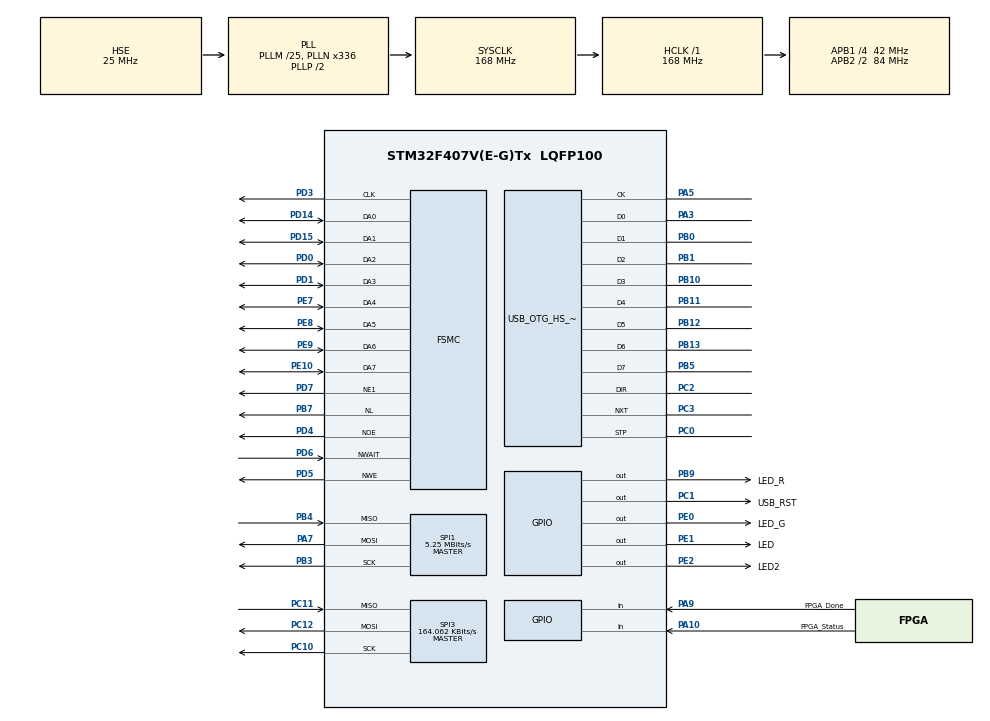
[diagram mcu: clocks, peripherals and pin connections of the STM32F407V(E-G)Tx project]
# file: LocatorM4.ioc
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FREERTOS.Tasks01=defaultTask,24,128,StartDefaultTask,Default,NULL,Dynamic,NULL,NULL
FREERTOS.configUSE_NEWLIB_REENTRANT=1
FSMC.WaitSignalPolarity1=FSMC_WAIT_SIGNAL_POLARITY_HIGH
FSMC.WriteOperation1=FSMC_WRITE_OPERATION_ENABLE
Mcu.Family=STM32F4
Mcu.Name=STM32F407V(E-G)Tx
Mcu.Package=LQFP100
NVIC.OTG_HS_EP1_IN_IRQn=true\:7\:0\:true\:false\:true\:true\:true\:true\:true
NVIC.OTG_HS_EP1_OUT_IRQn=true\:7\:0\:true\:false\:true\:true\:true\:true\:true
NVIC.OTG_HS_IRQn=true\:7\:0\:true\:false\:true\:true\:true\:true\:true
NVIC.PriorityGroup=NVIC_PRIORITYGROUP_4
NVIC.SPI1_IRQn=true\:5\:0\:true\:false\:true\:true\:true\:true\:true
NVIC.SPI3_IRQn=true\:5\:0\:false\:false\:true\:true\:true\:true\:true
NVIC.TIM2_IRQn=true\:15\:0\:true\:false\:true\:false\:true\:true\:true
NVIC.TIM3_IRQn=true\:5\:0\:false\:false\:true\:true\:true\:true\:true
NVIC.TIM4_IRQn=true\:5\:0\:false\:false\:true\:true\:true\:true\:true
NVIC.TimeBase=TIM2_IRQn
NVIC.TimeBaseIP=TIM2
PA10.GPIO_Label=FPGA_Status
PA10.GPIO_PuPd=GPIO_PULLDOWN
PA10.Signal=GPIO_Input
PA13.Mode=Serial_Wire
PA13.Signal=SYS_JTMS-SWDIO
PA14.Mode=Serial_Wire
PA14.Signal=SYS_JTCK-SWCLK
PA3.Mode=Device_HS
PA3.Signal=USB_OTG_HS_ULPI_D0
PA5.Mode=Device_HS
PA5.Signal=USB_OTG_HS_ULPI_CK
PA7.Mode=Full_Duplex_Master
PA7.Signal=SPI1_MOSI
PA9.GPIO_Label=FPGA_Done
PA9.GPIO_PuPd=GPIO_PULLDOWN
PA9.Signal=GPIO_Input
PB0.Mode=Device_HS
PB0.Signal=USB_OTG_HS_ULPI_D1
PB1.Mode=Device_HS
PB1.Signal=USB_OTG_HS_ULPI_D2
PB10.Mode=Device_HS
PB10.Signal=USB_OTG_HS_ULPI_D3
PB11.Mode=Device_HS
PB11.Signal=USB_OTG_HS_ULPI_D4
PB12.Mode=Device_HS
PB12.Signal=USB_OTG_HS_ULPI_D5
PB13.Mode=Device_HS
PB13.Signal=USB_OTG_HS_ULPI_D6
PB3.Mode=Full_Duplex_Master
PB3.Signal=SPI1_SCK
PB4.Mode=Full_Duplex_Master
PB4.Signal=SPI1_MISO
PB5.Mode=Device_HS
PB5.Signal=USB_OTG_HS_ULPI_D7
PB7.Signal=FSMC_NL
PB9.GPIO_Label=LED_R
PB9.Signal=GPIO_Output
PC0.Mode=Device_HS
PC0.Signal=USB_OTG_HS_ULPI_STP
PC1.GPIO_Label=USB_RST
PC1.Signal=GPIO_Output
PC10.Mode=Full_Duplex_Master
PC10.Signal=SPI3_SCK
PC11.Mode=Full_Duplex_Master
PC11.Signal=SPI3_MISO
PC12.Mode=Full_Duplex_Master
PC12.Signal=SPI3_MOSI
PC2.Mode=Device_HS
PC2.Signal=USB_OTG_HS_ULPI_DIR
PC3.Mode=Device_HS
PC3.Signal=USB_OTG_HS_ULPI_NXT
PD0.Mode=8b-da1
PD0.Signal=FSMC_DA2
PD1.Mode=8b-da1
PD1.Signal=FSMC_DA3
PD14.Mode=8b-da1
PD14.Signal=FSMC_DA0
PD15.Mode=8b-da1
PD15.Signal=FSMC_DA1
PD3.Mode=BurstRead1
PD3.Signal=FSMC_CLK
PD4.Mode=MuxedPsram1
PD4.Signal=FSMC_NOE
PD5.Mode=MuxedPsram1
PD5.Signal=FSMC_NWE
PD6.Mode=AsynchronousSynchronousWait1
PD6.Signal=FSMC_NWAIT
PD7.Mode=NorPsramChipSelect1_1
PD7.Signal=FSMC_NE1
PE0.GPIO_Label=LED_G
PE0.Signal=GPIO_Output
PE1.GPIO_Label=LED
PE1.Signal=GPIO_Output
PE10.Mode=8b-da1
PE10.Signal=FSMC_DA7
PE2.GPIO_Label=LED2
PE2.Signal=GPIO_Output
PE7.Mode=8b-da1
PE7.Signal=FSMC_DA4
PE8.Mode=8b-da1
PE8.Signal=FSMC_DA5
PE9.Mode=8b-da1
PE9.Signal=FSMC_DA6
PH0-OSC_IN.Mode=HSE-External-Oscillator
PH0-OSC_IN.Signal=RCC_OSC_IN
PH1-OSC_OUT.Mode=HSE-External-Oscillator
PH1-OSC_OUT.Signal=RCC_OSC_OUT
ProjectManager.HeapSize=0x200
ProjectManager.StackSize=0x400
ProjectManager.TargetToolchain=STM32CubeIDE
RCC.48MHZClocksFreq_Value=84000000
RCC.AHBFreq_Value=168000000
RCC.APB1CLKDivider=RCC_HCLK_DIV4
RCC.APB1Freq_Value=42000000
RCC.APB1TimFreq_Value=84000000
RCC.APB2CLKDivider=RCC_HCLK_DIV2
RCC.APB2Freq_Value=84000000
RCC.APB2TimFreq_Value=168000000
RCC.CortexFreq_Value=168000000
RCC.HCLKFreq_Value=168000000
RCC.HSE_VALUE=25000000
RCC.HSI_VALUE=16000000
RCC.LSE_VALUE=32768
RCC.PLLM=25
RCC.PLLN=336
RCC.PLLSourceVirtual=RCC_PLLSOURCE_HSE
RCC.RCC_MCO2Source=RCC_MCO2SOURCE_PLLI2SCLK
RCC.RCC_MCODiv2=RCC_MCODIV_4
RCC.SYSCLKFreq_VALUE=168000000
RCC.SYSCLKSource=RCC_SYSCLKSOURCE_PLLCLK
RCC.VCOOutputFreq_Value=336000000
SH.FSMC_NL.0=FSMC_NL,AddressValid1
SPI1.BaudRatePrescaler=SPI_BAUDRATEPRESCALER_16
SPI1.CLKPhase=SPI_PHASE_2EDGE
SPI1.CalculateBaudRate=5.25 MBits/s
SPI1.Direction=SPI_DIRECTION_2LINES
SPI1.Mode=SPI_MODE_MASTER
SPI1.VirtualType=VM_MASTER
SPI3.BaudRatePrescaler=SPI_BAUDRATEPRESCALER_256
SPI3.CalculateBaudRate=164.062 KBits/s
SPI3.Direction=SPI_DIRECTION_2LINES
SPI3.Mode=SPI_MODE_MASTER
SPI3.VirtualType=VM_MASTER
TIM1.Period=1000
TIM1.Prescaler=0
TIM3.Period=6-1
TIM3.Prescaler=875-1
TIM4.Period=5
TIM4.Prescaler=8400-1
USB_OTG_HS.DeviceSpeed-Device_HS=PCD_SPEED_HIGH
USB_OTG_HS.VirtualMode-Device_HS=Device_HS
USB_OTG_HS.dma_enable-Device_HS=DISABLE
VP_FREERTOS_VS_CMSIS_V2.Mode=CMSIS_V2
VP_SYS_VS_tim2.Mode=TIM2
VP_TIM1_VS_ClockSourceINT.Mode=Internal
VP_TIM3_VS_ClockSourceINT.Mode=Internal
VP_TIM4_VS_ClockSourceINT.Mode=Internal
board=custom

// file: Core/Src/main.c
/* USER CODE BEGIN Header */
/**
  ******************************************************************************
  * @file           : main.c
  * @brief          : Main program body
  ******************************************************************************
  * @attention
  *
  * Copyright (c) 2025 STMicroelectronics.
  * All rights reserved.
  *
  * This software is licensed under terms that can be found in the LICENSE file
  * in the root directory of this software component.
  * If no LICENSE file comes with this software, it is provided AS-IS.
  *
  ******************************************************************************
  */
/* USER CODE END Header */
#include "main.h"
#include "cmsis_os.h"

/* USER CODE BEGIN Includes */
#include "usb.h"
#include "SEGGER_SYSVIEW.h"
#include "SEGGER_RTT.h"
/* USER CODE END Includes */

SPI_HandleTypeDef hspi1;
SPI_HandleTypeDef hspi3;

TIM_HandleTypeDef htim1;
TIM_HandleTypeDef htim3;
TIM_HandleTypeDef htim4;

PCD_HandleTypeDef hpcd_USB_OTG_HS;

SRAM_HandleTypeDef hsram1;

/* Definitions for defaultTask */
osThreadId_t defaultTaskHandle;
const osThreadAttr_t defaultTask_attributes = {
  .name = "defaultTask",
  .stack_size = 128 * 4,
  .priority = (osPriority_t) osPriorityNormal,
};

void SystemClock_Config(void);
static void MX_GPIO_Init(void);
static void MX_USB_OTG_HS_PCD_Init(void);
static void MX_TIM1_Init(void);
static void MX_SPI1_Init(void);
static void MX_SPI3_Init(void);
static void MX_TIM3_Init(void);
static void MX_FSMC_Init(void);
static void MX_TIM4_Init(void);
void StartDefaultTask(void *argument);

/* USER CODE BEGIN PFP */
static const int Size = 1;
uint8_t adc_fstatus = 0;

// RTOS tasks
SemaphoreHandle_t capture_semaphore;
TaskHandle_t task_retr_main = NULL;
TaskHandle_t task_send_segger = NULL;
TaskHandle_t task_retr_periodic = NULL;
void task_retr_main_func(void* pvParameters);
//void task_send_segger_func(void* pvParameters);
//void task_retr_periodic_func(void* pvParameters);
void capture_periodic();
/* USER CODE END PFP */

int main(void)
{
  /* USER CODE BEGIN 1 */
  for (int i = 0; i < 100000; i++); // Don't push the horses...
  /* USER CODE END 1 */

  /* MCU Configuration--------------------------------------------------------*/

  /* Reset of all peripherals, Initializes the Flash interface and the Systick. */
  HAL_Init();

  /* Configure the system clock */
  SystemClock_Config();

  /* USER CODE BEGIN SysInit */

//  HAL_GPIO_WritePin(USB_RST_GPIO_Port, USB_RST_Pin, RESET);
//  HAL_Delay(1000);
//  HAL_GPIO_WritePin(USB_RST_GPIO_Port, USB_RST_Pin, SET);

  /* USER CODE END SysInit */

  /* Initialize all configured peripherals */
  MX_GPIO_Init();
  MX_USB_OTG_HS_PCD_Init();
  MX_TIM1_Init();
  MX_SPI1_Init();
  MX_SPI3_Init();
  MX_TIM3_Init();
  MX_FSMC_Init();
  MX_TIM4_Init();
  /* USER CODE BEGIN 2 */

  SEGGER_SYSVIEW_Conf();
  NVIC_SetPriorityGrouping( 0 );
//  SEGGER_SYSVIEW_Start();
//  HAL_ADC_Start_DMA(&hadc1, (uint32_t*)sound, SOUND_ITEMS);
  HAL_GPIO_WritePin(LED_GPIO_Port, LED_Pin, SET);
  HAL_GPIO_WritePin(LED2_GPIO_Port, LED2_Pin, SET);

  /* USER CODE END 2 */

  /* Init scheduler */
  osKernelInitialize();

  /* Create the thread(s) */
  /* creation of defaultTask */
  defaultTaskHandle = osThreadNew(StartDefaultTask, NULL, &defaultTask_attributes);

  /* USER CODE BEGIN RTOS_THREADS */
  xTaskCreate(task_retr_main_func, "Retrieve Main", 128, NULL, 6, &task_retr_main);
//  xTaskCreate(task_send_segger_func, "Send trace", 128, NULL, 6, &task_send_segger);
//  xTaskCreate(task_retr_periodic_func, "Send trace", 128, NULL, 6, &task_retr_periodic);
  capture_semaphore = xSemaphoreCreateMutex();

  /* USER CODE END RTOS_THREADS */

  /* USER CODE BEGIN RTOS_EVENTS */
  HAL_TIM_Base_Start_IT(&htim3);
  HAL_TIM_Base_Start_IT(&htim4);
  /* USER CODE END RTOS_EVENTS */

  /* Start scheduler */
  osKernelStart();

  /* We should never get here as control is now taken by the scheduler */
  /* Infinite loop */
  /* USER CODE BEGIN WHILE */

	  /*Init field not used in handle to zero */
//	  hspi1.RxISR       = SPI_2linesRxISR_8BIT;
//	  hspi1.TxISR       = SPI_2linesTxISR_8BIT;
	  hspi1.ErrorCode   = HAL_SPI_ERROR_NONE;
	  hspi1.pRxBuffPtr  = (uint8_t *)&adc_fstatus;
	  hspi1.RxXferCount = Size;
	  hspi1.RxXferSize  = Size;
	  hspi1.pTxBuffPtr  = (const uint8_t *)&adc_fstatus;
	  hspi1.TxXferCount = Size;
	  hspi1.TxXferSize  = Size;
//	  HAL_TIM_IC_Start_DMA(&htim1, TIM_CHANNEL_1, (uint32_t*)adc_values, 8);
	  int t = 0;
  while (1)
  {
	  t++;
//
//	  HAL_TIM_IC_Start_DMA(&htim1, TIM_CHANNEL_1, (uint32_t*)sound, SOUND_ITEMS*2);
//	  HAL_TIM_Base_Start_IT(&htim2);
//	  if (t == 1) HAL_TIM_Base_Start_IT(&htim2);
//	  HAL_Delay(100);

    /* USER CODE END WHILE */

    /* USER CODE BEGIN 3 */
//	  transmit_segger_data();
//////	  HAL_GPIO_TogglePin(LED_GPIO_Port, LED_Pin);
//	  HAL_Delay(15);
//	// If RDY pin is held high from the beginning, this will
//	// kick-start the periodic transmissions.
//	if (is_sound_requested && ncallbacks++ > 100) {
////		  HAL_SPI_TransmitReceive_IT(&hspi1, &adc_fstatus, &adc_fstatus, 1);
////		  hspi1.Instance->DR = 25;
////		  ncallbacks = 0;
//	}

//	  HAL_GPIO_WritePin(ADC_CONVST_GPIO_Port, ADC_CONVST_Pin, SET);
////	  HAL_Delay(1);
//	  /* Set the transaction information */
//	  hspi1.ErrorCode   = HAL_SPI_ERROR_NONE;
//	  hspi1.pRxBuffPtr  = (uint8_t *)&adc_fstatus;
//	  hspi1.RxXferCount = Size;
//	  hspi1.RxXferSize  = Size;
//	  hspi1.pTxBuffPtr  = (const uint8_t *)&adc_fstatus;
//	  hspi1.TxXferCount = Size;
//	  hspi1.TxXferSize  = Size;
//
//	  HAL_GPIO_WritePin(ADC_CONVST_GPIO_Port, ADC_CONVST_Pin, RESET);
//	  while (HAL_GPIO_ReadPin(ADC_BSY_2_GPIO_Port, ADC_BSY_2_Pin) == GPIO_PIN_SET);
//	  HAL_GPIO_WritePin(ADC_CS_2_GPIO_Port, ADC_CS_2_Pin, RESET);
////	  HAL_SPI_TransmitReceive(&hspi1, &adc_fstatus, &adc_fstatus, 1, 100);
//	  HAL_SPI_TransmitReceive_IT(&hspi1, &adc_fstatus, &adc_fstatus, 1);
//	  for (int i = 0; i < 10; i++);
//	  HAL_GPIO_WritePin(ADC_CS_2_GPIO_Port, ADC_CS_2_Pin, SET);
//	  if (adc_fstatus != 192) {
//		  int d = 0;  // ADC output overflow
//	  }
  }
  /* USER CODE END 3 */
}

void SystemClock_Config(void)
{
  RCC_OscInitTypeDef RCC_OscInitStruct = {0};
  RCC_ClkInitTypeDef RCC_ClkInitStruct = {0};

  /** Configure the main internal regulator output voltage
  */
  __HAL_RCC_PWR_CLK_ENABLE();
  __HAL_PWR_VOLTAGESCALING_CONFIG(PWR_REGULATOR_VOLTAGE_SCALE1);

  /** Initializes the RCC Oscillators according to the specified parameters
  * in the RCC_OscInitTypeDef structure.
  */
  RCC_OscInitStruct.OscillatorType = RCC_OSCILLATORTYPE_HSE;
  RCC_OscInitStruct.HSEState = RCC_HSE_ON;
  RCC_OscInitStruct.PLL.PLLState = RCC_PLL_ON;
  RCC_OscInitStruct.PLL.PLLSource = RCC_PLLSOURCE_HSE;
  RCC_OscInitStruct.PLL.PLLM = 25;
  RCC_OscInitStruct.PLL.PLLN = 336;
  RCC_OscInitStruct.PLL.PLLP = RCC_PLLP_DIV2;
  RCC_OscInitStruct.PLL.PLLQ = 4;
  if (HAL_RCC_OscConfig(&RCC_OscInitStruct) != HAL_OK)
  {
    Error_Handler();
  }

  /** Initializes the CPU, AHB and APB buses clocks
  */
  RCC_ClkInitStruct.ClockType = RCC_CLOCKTYPE_HCLK|RCC_CLOCKTYPE_SYSCLK
                              |RCC_CLOCKTYPE_PCLK1|RCC_CLOCKTYPE_PCLK2;
  RCC_ClkInitStruct.SYSCLKSource = RCC_SYSCLKSOURCE_PLLCLK;
  RCC_ClkInitStruct.AHBCLKDivider = RCC_SYSCLK_DIV1;
  RCC_ClkInitStruct.APB1CLKDivider = RCC_HCLK_DIV4;
  RCC_ClkInitStruct.APB2CLKDivider = RCC_HCLK_DIV2;

  if (HAL_RCC_ClockConfig(&RCC_ClkInitStruct, FLASH_LATENCY_5) != HAL_OK)
  {
    Error_Handler();
  }
}

static void MX_SPI1_Init(void)
{

  /* SPI1 parameter configuration*/
  hspi1.Instance = SPI1;
  hspi1.Init.Mode = SPI_MODE_MASTER;
  hspi1.Init.Direction = SPI_DIRECTION_2LINES;
  hspi1.Init.DataSize = SPI_DATASIZE_8BIT;
  hspi1.Init.CLKPolarity = SPI_POLARITY_LOW;
  hspi1.Init.CLKPhase = SPI_PHASE_2EDGE;
  hspi1.Init.NSS = SPI_NSS_SOFT;
  hspi1.Init.BaudRatePrescaler = SPI_BAUDRATEPRESCALER_16;
  hspi1.Init.FirstBit = SPI_FIRSTBIT_MSB;
  hspi1.Init.TIMode = SPI_TIMODE_DISABLE;
  hspi1.Init.CRCCalculation = SPI_CRCCALCULATION_DISABLE;
  hspi1.Init.CRCPolynomial = 10;
  if (HAL_SPI_Init(&hspi1) != HAL_OK)
  {
    Error_Handler();
  }

}

static void MX_SPI3_Init(void)
{

  /* SPI3 parameter configuration*/
  hspi3.Instance = SPI3;
  hspi3.Init.Mode = SPI_MODE_MASTER;
  hspi3.Init.Direction = SPI_DIRECTION_2LINES;
  hspi3.Init.DataSize = SPI_DATASIZE_8BIT;
  hspi3.Init.CLKPolarity = SPI_POLARITY_LOW;
  hspi3.Init.CLKPhase = SPI_PHASE_1EDGE;
  hspi3.Init.NSS = SPI_NSS_SOFT;
  hspi3.Init.BaudRatePrescaler = SPI_BAUDRATEPRESCALER_256;
  hspi3.Init.FirstBit = SPI_FIRSTBIT_MSB;
  hspi3.Init.TIMode = SPI_TIMODE_DISABLE;
  hspi3.Init.CRCCalculation = SPI_CRCCALCULATION_DISABLE;
  hspi3.Init.CRCPolynomial = 10;
  if (HAL_SPI_Init(&hspi3) != HAL_OK)
  {
    Error_Handler();
  }

}

static void MX_TIM1_Init(void)
{

  TIM_ClockConfigTypeDef sClockSourceConfig = {0};
  TIM_MasterConfigTypeDef sMasterConfig = {0};

  htim1.Instance = TIM1;
  htim1.Init.Prescaler = 0;
  htim1.Init.CounterMode = TIM_COUNTERMODE_UP;
  htim1.Init.Period = 1000;
  htim1.Init.ClockDivision = TIM_CLOCKDIVISION_DIV1;
  htim1.Init.RepetitionCounter = 0;
  htim1.Init.AutoReloadPreload = TIM_AUTORELOAD_PRELOAD_DISABLE;
  if (HAL_TIM_Base_Init(&htim1) != HAL_OK)
  {
    Error_Handler();
  }
  sClockSourceConfig.ClockSource = TIM_CLOCKSOURCE_INTERNAL;
  if (HAL_TIM_ConfigClockSource(&htim1, &sClockSourceConfig) != HAL_OK)
  {
    Error_Handler();
  }
  sMasterConfig.MasterOutputTrigger = TIM_TRGO_RESET;
  sMasterConfig.MasterSlaveMode = TIM_MASTERSLAVEMODE_DISABLE;
  if (HAL_TIMEx_MasterConfigSynchronization(&htim1, &sMasterConfig) != HAL_OK)
  {
    Error_Handler();
  }

}

static void MX_TIM3_Init(void)
{

  TIM_ClockConfigTypeDef sClockSourceConfig = {0};
  TIM_MasterConfigTypeDef sMasterConfig = {0};

  htim3.Instance = TIM3;
  htim3.Init.Prescaler = 875-1;
  htim3.Init.CounterMode = TIM_COUNTERMODE_UP;
  htim3.Init.Period = 6-1;
  htim3.Init.ClockDivision = TIM_CLOCKDIVISION_DIV1;
  htim3.Init.AutoReloadPreload = TIM_AUTORELOAD_PRELOAD_DISABLE;
  if (HAL_TIM_Base_Init(&htim3) != HAL_OK)
  {
    Error_Handler();
  }
  sClockSourceConfig.ClockSource = TIM_CLOCKSOURCE_INTERNAL;
  if (HAL_TIM_ConfigClockSource(&htim3, &sClockSourceConfig) != HAL_OK)
  {
    Error_Handler();
  }
  sMasterConfig.MasterOutputTrigger = TIM_TRGO_RESET;
  sMasterConfig.MasterSlaveMode = TIM_MASTERSLAVEMODE_DISABLE;
  if (HAL_TIMEx_MasterConfigSynchronization(&htim3, &sMasterConfig) != HAL_OK)
  {
    Error_Handler();
  }

}

static void MX_TIM4_Init(void)
{

  TIM_ClockConfigTypeDef sClockSourceConfig = {0};
  TIM_MasterConfigTypeDef sMasterConfig = {0};

  htim4.Instance = TIM4;
  htim4.Init.Prescaler = 8400-1;
  htim4.Init.CounterMode = TIM_COUNTERMODE_UP;
  htim4.Init.Period = 5;
  htim4.Init.ClockDivision = TIM_CLOCKDIVISION_DIV1;
  htim4.Init.AutoReloadPreload = TIM_AUTORELOAD_PRELOAD_DISABLE;
  if (HAL_TIM_Base_Init(&htim4) != HAL_OK)
  {
    Error_Handler();
  }
  sClockSourceConfig.ClockSource = TIM_CLOCKSOURCE_INTERNAL;
  if (HAL_TIM_ConfigClockSource(&htim4, &sClockSourceConfig) != HAL_OK)
  {
    Error_Handler();
  }
  sMasterConfig.MasterOutputTrigger = TIM_TRGO_RESET;
  sMasterConfig.MasterSlaveMode = TIM_MASTERSLAVEMODE_DISABLE;
  if (HAL_TIMEx_MasterConfigSynchronization(&htim4, &sMasterConfig) != HAL_OK)
  {
    Error_Handler();
  }

}

static void MX_USB_OTG_HS_PCD_Init(void)
{

  hpcd_USB_OTG_HS.Instance = USB_OTG_HS;
  hpcd_USB_OTG_HS.Init.dev_endpoints = 6;
  hpcd_USB_OTG_HS.Init.speed = PCD_SPEED_HIGH;
  hpcd_USB_OTG_HS.Init.dma_enable = DISABLE;
  hpcd_USB_OTG_HS.Init.phy_itface = USB_OTG_ULPI_PHY;
  hpcd_USB_OTG_HS.Init.Sof_enable = DISABLE;
  hpcd_USB_OTG_HS.Init.low_power_enable = DISABLE;
  hpcd_USB_OTG_HS.Init.lpm_enable = DISABLE;
  hpcd_USB_OTG_HS.Init.vbus_sensing_enable = DISABLE;
  hpcd_USB_OTG_HS.Init.use_dedicated_ep1 = DISABLE;
  hpcd_USB_OTG_HS.Init.use_external_vbus = DISABLE;
  if (HAL_PCD_Init(&hpcd_USB_OTG_HS) != HAL_OK)
  {
    Error_Handler();
  }
  /* USER CODE BEGIN USB_OTG_HS_Init 2 */
  USB_Start_M4(&hpcd_USB_OTG_HS);
  /* USER CODE END USB_OTG_HS_Init 2 */

}

static void MX_GPIO_Init(void)
{
  GPIO_InitTypeDef GPIO_InitStruct = {0};

  /* GPIO Ports Clock Enable */
  __HAL_RCC_GPIOE_CLK_ENABLE();
  __HAL_RCC_GPIOH_CLK_ENABLE();
  __HAL_RCC_GPIOC_CLK_ENABLE();
  __HAL_RCC_GPIOA_CLK_ENABLE();
  __HAL_RCC_GPIOB_CLK_ENABLE();
  __HAL_RCC_GPIOD_CLK_ENABLE();

  /*Configure GPIO pin Output Level */
  HAL_GPIO_WritePin(GPIOE, LED2_Pin|LED_G_Pin|LED_Pin, GPIO_PIN_RESET);

  /*Configure GPIO pin Output Level */
  HAL_GPIO_WritePin(USB_RST_GPIO_Port, USB_RST_Pin, GPIO_PIN_RESET);

  /*Configure GPIO pin Output Level */
  HAL_GPIO_WritePin(LED_R_GPIO_Port, LED_R_Pin, GPIO_PIN_RESET);

  /*Configure GPIO pins : LED2_Pin LED_G_Pin LED_Pin */
  GPIO_InitStruct.Pin = LED2_Pin|LED_G_Pin|LED_Pin;
  GPIO_InitStruct.Mode = GPIO_MODE_OUTPUT_PP;
  GPIO_InitStruct.Pull = GPIO_NOPULL;
  GPIO_InitStruct.Speed = GPIO_SPEED_FREQ_LOW;
  HAL_GPIO_Init(GPIOE, &GPIO_InitStruct);

  /*Configure GPIO pin : USB_RST_Pin */
  GPIO_InitStruct.Pin = USB_RST_Pin;
  GPIO_InitStruct.Mode = GPIO_MODE_OUTPUT_PP;
  GPIO_InitStruct.Pull = GPIO_NOPULL;
  GPIO_InitStruct.Speed = GPIO_SPEED_FREQ_LOW;
  HAL_GPIO_Init(USB_RST_GPIO_Port, &GPIO_InitStruct);

  /*Configure GPIO pins : FPGA_Done_Pin FPGA_Status_Pin */
  GPIO_InitStruct.Pin = FPGA_Done_Pin|FPGA_Status_Pin;
  GPIO_InitStruct.Mode = GPIO_MODE_INPUT;
  GPIO_InitStruct.Pull = GPIO_PULLDOWN;
  HAL_GPIO_Init(GPIOA, &GPIO_InitStruct);

  /*Configure GPIO pin : LED_R_Pin */
  GPIO_InitStruct.Pin = LED_R_Pin;
  GPIO_InitStruct.Mode = GPIO_MODE_OUTPUT_PP;
  GPIO_InitStruct.Pull = GPIO_NOPULL;
  GPIO_InitStruct.Speed = GPIO_SPEED_FREQ_LOW;
  HAL_GPIO_Init(LED_R_GPIO_Port, &GPIO_InitStruct);

}

/* FSMC initialization function */
static void MX_FSMC_Init(void)
{

  FSMC_NORSRAM_TimingTypeDef Timing = {0};

  /** Perform the SRAM1 memory initialization sequence
  */
  hsram1.Instance = FSMC_NORSRAM_DEVICE;
  hsram1.Extended = FSMC_NORSRAM_EXTENDED_DEVICE;
  /* hsram1.Init */
  hsram1.Init.NSBank = FSMC_NORSRAM_BANK1;
  hsram1.Init.DataAddressMux = FSMC_DATA_ADDRESS_MUX_ENABLE;
  hsram1.Init.MemoryType = FSMC_MEMORY_TYPE_PSRAM;
  hsram1.Init.MemoryDataWidth = FSMC_NORSRAM_MEM_BUS_WIDTH_8;
  hsram1.Init.BurstAccessMode = FSMC_BURST_ACCESS_MODE_ENABLE;
  hsram1.Init.WaitSignalPolarity = FSMC_WAIT_SIGNAL_POLARITY_HIGH;
  hsram1.Init.WrapMode = FSMC_WRAP_MODE_DISABLE;
  hsram1.Init.WaitSignalActive = FSMC_WAIT_TIMING_BEFORE_WS;
  hsram1.Init.WriteOperation = FSMC_WRITE_OPERATION_ENABLE;
  hsram1.Init.WaitSignal = FSMC_WAIT_SIGNAL_ENABLE;
  hsram1.Init.ExtendedMode = FSMC_EXTENDED_MODE_DISABLE;
  hsram1.Init.AsynchronousWait = FSMC_ASYNCHRONOUS_WAIT_ENABLE;
  hsram1.Init.WriteBurst = FSMC_WRITE_BURST_DISABLE;
  hsram1.Init.PageSize = FSMC_PAGE_SIZE_NONE;
  /* Timing */
  Timing.AddressSetupTime = 15;
  Timing.AddressHoldTime = 15;
  Timing.DataSetupTime = 255;
  Timing.BusTurnAroundDuration = 15;
  Timing.CLKDivision = 16;
  Timing.DataLatency = 2;
  Timing.AccessMode = FSMC_ACCESS_MODE_A;
  /* ExtTiming */

  if (HAL_SRAM_Init(&hsram1, &Timing, NULL) != HAL_OK)
  {
    Error_Handler( );
  }

}

void StartDefaultTask(void *argument)
{
  for(;;)
  {
    osDelay(1);
  }
}

void HAL_TIM_PeriodElapsedCallback(TIM_HandleTypeDef *htim)
{
  if (htim->Instance == TIM2) {
    HAL_IncTick();
  }
  /* USER CODE BEGIN Callback 1 */
  if (htim->Instance == TIM3) {
	  capture_periodic();
  }
  if (htim->Instance == TIM4) {
	  drive_cam_indicator();
  }

  /* USER CODE END Callback 1 */
}

void Error_Handler(void)
{
  __disable_irq();
  while (1)
  {
  }
}
